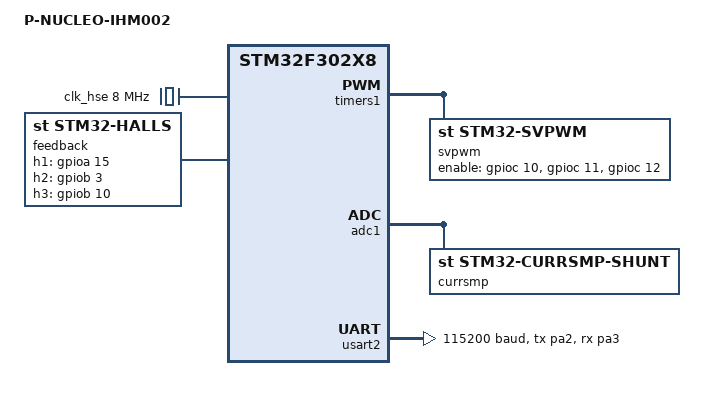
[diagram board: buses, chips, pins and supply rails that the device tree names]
/*
 * Copyright (c) 2021 Teslabs Engineering S.L.
 *
 * SPDX-License-Identifier: Apache-2.0
 */

/dts-v1/;
#include <st/f3/stm32f302X8.dtsi>
#include <st/f3/stm32f302r(6-8)tx-pinctrl.dtsi>
#include <dts-bindings/adc/stm32f3xx.h>

/ {
	model = "P-NUCLEO-IHM002";

	chosen {
		zephyr,console = &usart2;
		zephyr,shell-uart = &usart2;
		zephyr,sram = &sram0;
		zephyr,flash = &flash0;
	};
};

&clk_hse {
	hse-bypass;
	clock-frequency = <DT_FREQ_M(8)>; /* STLink 8MHz clock */
	status = "okay";
};

&pll {
	prediv = <1>;
	mul = <9>;
	clocks = <&clk_hse>;
	status = "okay";
};

&rcc {
	clocks = <&pll>;
	clock-frequency = <DT_FREQ_M(72)>;
	ahb-prescaler = <1>;
	apb1-prescaler = <2>;
	apb2-prescaler = <1>;
};

&timers1 {
	svpwm: svpwm {
		compatible = "st,stm32-svpwm";
		pinctrl-0 = <&tim1_ch1_pa8 &tim1_ch2_pa9 &tim1_ch3_pa10 &tim1_ocp_pa11>;

		/* L6230 dead time (Table 6) */
		t-dead-ns = <1000>;
		/* L6230 rise time: tD(ON) + tRISE (Fig. 4) */
		t-rise-ns = <1050>;
		currsmp = <&currsmp>;
		enable-gpios = <&gpioc 10 GPIO_ACTIVE_HIGH>,
					   <&gpioc 11 GPIO_ACTIVE_HIGH>,
					   <&gpioc 12 GPIO_ACTIVE_HIGH>;
	};
};

&adc1 {
	currsmp: currsmp {
		compatible = "st,stm32-currsmp-shunt";
		pinctrl-0 = <&adc1_in1_pa0 &adc1_in7_pc1 &adc1_in6_pc0>;

		adc-channels = <1 7 6>;
		adc-trigger = <STM32_ADC_INJ_TRIG_TIM1_TRGO>;
	};
};

&timers2 {
	feedback: feedback {
		compatible = "st,stm32-halls";

		pinctrl-0 = <&tim2_ch1_pa15 &tim2_ch2_pb3 &tim2_ch3_pb10>;

		h1-gpios = <&gpioa 15 0>;
		h2-gpios = <&gpiob 3 0>;
		h3-gpios = <&gpiob 10 0>;
		phase-shift = <60>;
	};
};

&usart2 {
	status = "okay";
	pinctrl-0 = <&usart2_tx_pa2 &usart2_rx_pa3>;
	current-speed = <115200>;
};

/* FIXME: missing upstream */
&pinctrl {
	tim1_ocp_pa11: tim1_ocp_pa11 {
		pinmux = <STM32_PINMUX('A', 11, AF12)>;
	};
};
